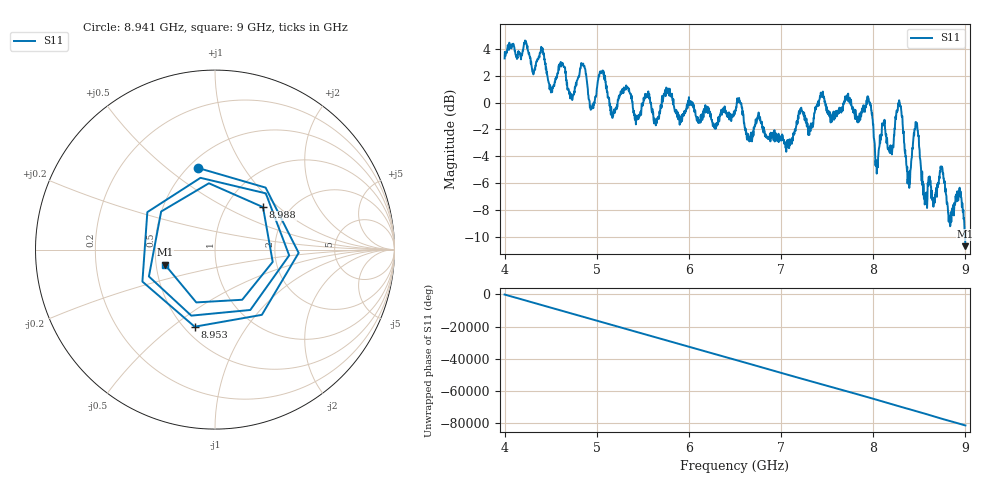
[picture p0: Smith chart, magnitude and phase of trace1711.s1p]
! Created with skrf 1.8.0 (http://scikit-rf.org).
# Hz S RI R 50.0
!freq ReS11 ImS11
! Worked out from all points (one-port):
!   1601 points, 4 GHz to 9 GHz, reference 50 ohm
!   lowest |S11| = -10.7 dB at 9 GHz (marker M1), VSWR 1.82, Z = 27.9 - j5.09 ohm
!   |S11| at or under -10 dB: 8.99489 GHz to end of sweep
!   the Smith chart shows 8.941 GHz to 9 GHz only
!   S11 on the Smith chart (normalised r, x): 8.941 GHz: 0.55, +0.65; 8.953 GHz: 0.56, -0.60; 8.988 GHz: 1.47, +0.80; 9 GHz: 0.56, -0.10
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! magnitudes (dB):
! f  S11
! 4 GHz  3.3
! 4.406 GHz  4.0
! 4.512 GHz  0.8
! 4.625 GHz  2.9
! 4.725 GHz  0.6
! 4.844 GHz  2.9
! 4.944 GHz  -0.5
! 5.053 GHz  2.2
! 5.172 GHz  -1.1
! 5.25 GHz  0.5
! 5.875 GHz  -1.1
! 6.5 GHz  -0.7
! 7.125 GHz  -2.9
! 7.438 GHz  0.5
! 7.75 GHz  0.0
! 7.956 GHz  0.1
! 8.044 GHz  -4.6
! 8.197 GHz  -3.5
! 8.291 GHz  -0.2
! 8.375 GHz  -5.7
! 8.466 GHz  -1.5
! 8.562 GHz  -7.4
! 8.741 GHz  -4.9
! 8.828 GHz  -8.7
! 8.941 GHz  -6.6
! 8.953 GHz  -7.0
! 8.988 GHz  -8.9
! 9 GHz  -10.7
